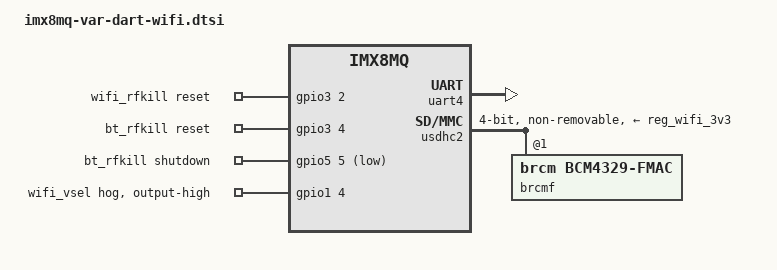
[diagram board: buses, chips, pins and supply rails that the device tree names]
// SPDX-License-Identifier: (GPL-2.0 OR MIT)
/*
 * Copyright 2017 NXP
 * Copyright 2018-2023 Variscite Ltd.
 */

/* Set WIFI SDIO voltage at 1.8V */
/ {
	wifi_rfkill {
		compatible = "net,rfkill-gpio";
		pinctrl-names = "default";
		pinctrl-0 = <&pinctrl_wifi>;
		reset-gpios = <&gpio3 2 GPIO_ACTIVE_HIGH>;
		reset-delay = <500>;
		name = "wifi_rfkill";
		type = "wlan";
		status = "okay";
	};

	bt_rfkill {
		compatible = "net,rfkill-gpio";
		pinctrl-names = "default";
		pinctrl-0 = <&pinctrl_bt>;
		reset-gpios = <&gpio3 4 GPIO_ACTIVE_HIGH>;
		shutdown-gpios = <&gpio5 5 GPIO_ACTIVE_LOW>;
		reset-delay = <500>;
		name = "bt_rfkill";
		type = "bluetooth";
		status = "okay";
	};
};

&gpio1 {
	wifi_vsel_hog {
		gpio-hog;
		gpios = <4 0>;
		output-high;
		line-name = "wifi_vsel";
	};
};

&reg_wifi_3v3 {
	status="okay";
};
/* Bluetooth */
&uart4 {
	status = "okay";
};

/* WIFI */
&usdhc2 {
	#address-cells = <1>;
	#size-cells = <0>;
	pinctrl-names = "default", "state_100mhz", "state_200mhz";
	pinctrl-0 = <&pinctrl_usdhc2>;
	pinctrl-1 = <&pinctrl_usdhc2_100mhz>;
	pinctrl-2 = <&pinctrl_usdhc2_200mhz>;
	bus-width = <4>;
	non-removable;
	keep-power-in-suspend;
	status = "okay";
	vmmc-supply = <&reg_wifi_3v3>;

	brcmf: bcrmf@1 {
	       reg = <1>;
	       compatible = "brcm,bcm4329-fmac";
       };
};
